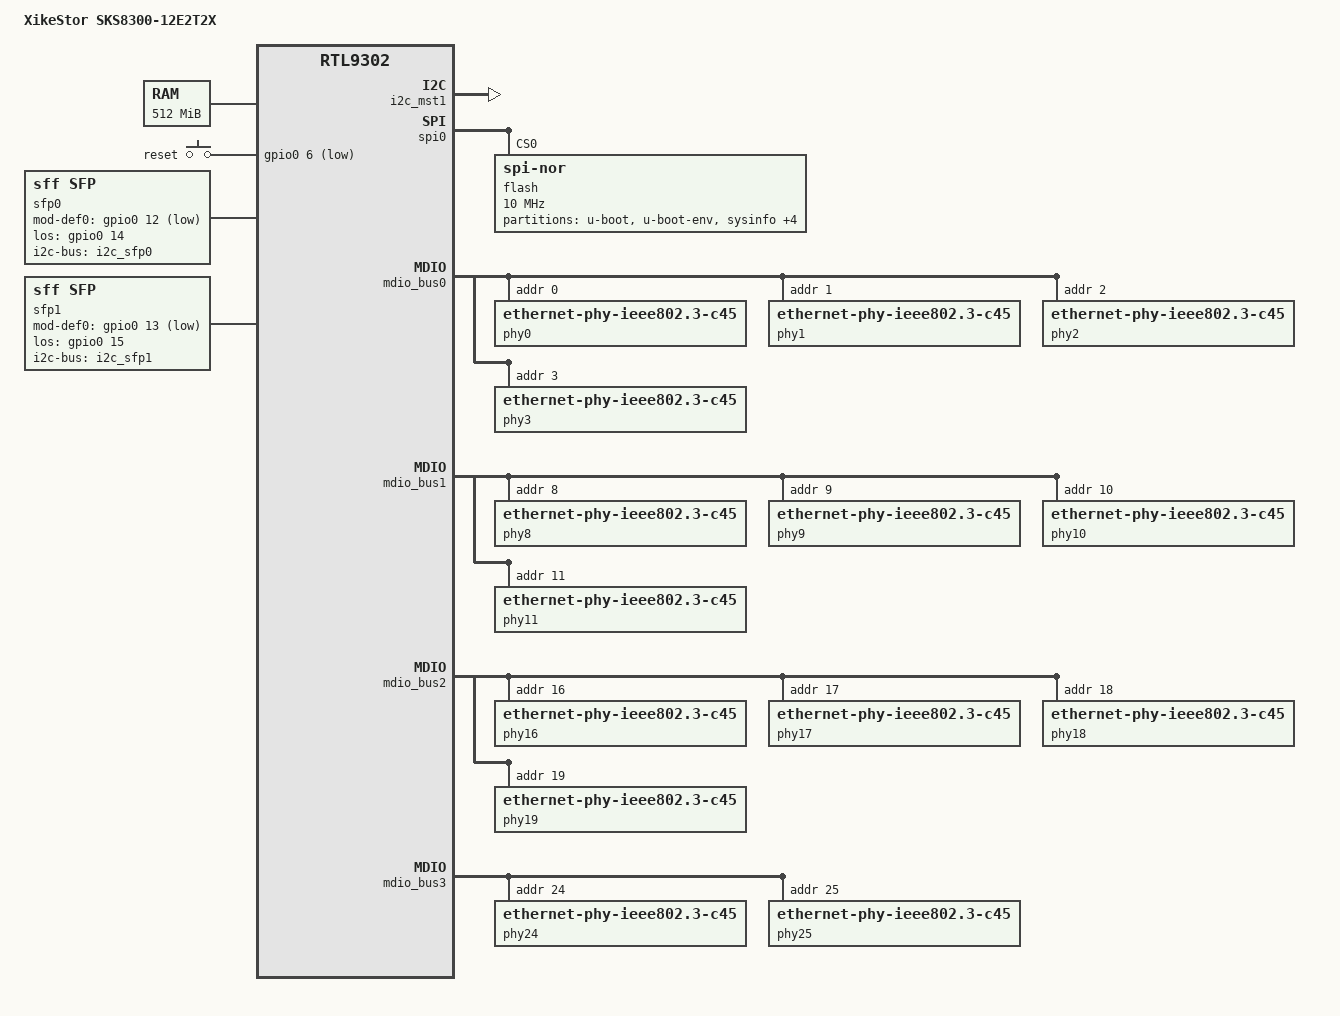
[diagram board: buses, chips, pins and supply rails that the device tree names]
// SPDX-License-Identifier: GPL-2.0-or-later

/dts-v1/;

#include "rtl930x.dtsi"

#include <dt-bindings/input/input.h>
#include <dt-bindings/gpio/gpio.h>

/ {
	compatible = "xikestor,sks8300-12e2t2x", "realtek,rtl9302-soc";
	model = "XikeStor SKS8300-12E2T2X";

	memory@0 {
		device_type = "memory";
		reg = <0x00000000 0x10000000>, /* first 256 MiB */
		      <0x20000000 0x10000000>; /* remaining 256 MiB */
	};

	chosen {
		stdout-path = "serial0:115200n8";
	};

	keys {
		compatible = "gpio-keys";
		button-reset {
			label = "reset";
			gpios = <&gpio0 6 GPIO_ACTIVE_LOW>;
			linux,code = <KEY_RESTART>;
		};
	};

	led_set {
		compatible = "realtek,rtl9300-leds";
		active-low;

		/*
		 * 2,5G Ports LED0 (orange): 10M/100M/1G/LINK/ACT
		 * 2,5G Ports LED1 (green): 2.5G/LINK/ACT
		 */
		led_set0 = <(RTL93XX_LED_SET_10M | RTL93XX_LED_SET_100M | RTL93XX_LED_SET_1G |
			     RTL93XX_LED_SET_LINK | RTL93XX_LED_SET_ACT)
			    (RTL93XX_LED_SET_2P5G | RTL93XX_LED_SET_LINK | RTL93XX_LED_SET_ACT)>;

		/*
		 * 10G Ports LED0 (orange): 10M/100M/1G/2.5G/5G/LINK/ACT
		 * 10G Ports LED1 (green): 10G/LINK/ACT
		 */
		led_set1 = <(RTL93XX_LED_SET_10M | RTL93XX_LED_SET_100M | RTL93XX_LED_SET_1G |
			     RTL93XX_LED_SET_2P5G | RTL93XX_LED_SET_5G |
			     RTL93XX_LED_SET_LINK | RTL93XX_LED_SET_ACT)
			    (RTL93XX_LED_SET_10G | RTL93XX_LED_SET_LINK | RTL93XX_LED_SET_ACT)>;
	};

	sfp0: sfp-p15 {
		compatible = "sff,sfp";
		i2c-bus = <&i2c_sfp0>;
		maximum-power-milliwatt = <1500>;
		mod-def0-gpios = <&gpio0 12 GPIO_ACTIVE_LOW>;
		los-gpios = <&gpio0 14 GPIO_ACTIVE_HIGH>;
		#thermal-sensor-cells = <0>;
	};

	sfp1: sfp-p16 {
		compatible = "sff,sfp";
		i2c-bus = <&i2c_sfp1>;
		maximum-power-milliwatt = <1500>;
		mod-def0-gpios = <&gpio0 13 GPIO_ACTIVE_LOW>;
		los-gpios = <&gpio0 15 GPIO_ACTIVE_HIGH>;
		#thermal-sensor-cells = <0>;

	};
	aliases {
		label-mac-device = &ethernet0;
	};
};

&i2c_mst1 {
	status = "okay";
	i2c_sfp0: i2c@0 {
		reg = <0>;
	};
	i2c_sfp1: i2c@1 {
		reg = <1>;
	};
};

&spi0 {
	status = "okay";
	flash@0 {
		compatible = "jedec,spi-nor";
		reg = <0>;
		spi-max-frequency = <10000000>;
		partitions {
			compatible = "fixed-partitions";
			#address-cells = <1>;
			#size-cells = <1>;
			partition@0 {
				label = "u-boot";
				reg = <0x0 0x1c0000>;
				read-only;
			};
			partition@1c0000 {
				label = "u-boot-env";
				reg = <0x1c0000 0x10000>;
			};
			partition@1d0000 {
				label = "sysinfo";
				reg = <0x1d0000 0x10000>;
				read-only;
			};
			partition@1e0000 {
				label = "factory";
				reg = <0x1e0000 0x10000>;
				read-only;
				nvmem-layout {
					compatible = "fixed-layout";
					#address-cells = <1>;
					#size-cells = <1>;
					factory_macaddr: macaddr@80 {
						reg = <0x80 0x6>;
					};
				};
			};
			partition@1f0000 {
				label = "sysdata";
				reg = <0x1f0000 0x10000>;
			};
			partition@200000 {
				label = "jffs2_filesystem";
				reg = <0x200000 0xa00000>;
			};
			partition@c00000 {
				compatible = "openwrt,uimage", "denx,uimage";
				label = "firmware";
				reg = <0xc00000 0x1400000>;
				openwrt,ih-magic = <0x93000000>;
				openwrt,offset = <0x10>;
			};
		};
	};
};

&ethernet0 {
	nvmem-cells = <&factory_macaddr>;
	nvmem-cell-names = "mac-address";
};

&mdio_bus0 {
	phy0: ethernet-phy@0 {
		compatible = "ethernet-phy-ieee802.3-c45";
		reg = <0>;
	};
	phy1: ethernet-phy@1 {
		compatible = "ethernet-phy-ieee802.3-c45";
		reg = <1>;
	};
	phy2: ethernet-phy@2 {
		compatible = "ethernet-phy-ieee802.3-c45";
		reg = <2>;
	};
	phy3: ethernet-phy@3 {
		compatible = "ethernet-phy-ieee802.3-c45";
		reg = <3>;
	};
};

&mdio_bus1 {
	phy8: ethernet-phy@8 {
		compatible = "ethernet-phy-ieee802.3-c45";
		reg = <8>;
		realtek,smi-address = <0>;
	};
	phy9: ethernet-phy@9 {
		compatible = "ethernet-phy-ieee802.3-c45";
		reg = <9>;
		realtek,smi-address = <1>;
	};
	phy10: ethernet-phy@10 {
		compatible = "ethernet-phy-ieee802.3-c45";
		reg = <10>;
		realtek,smi-address = <2>;
	};
	phy11: ethernet-phy@11 {
		compatible = "ethernet-phy-ieee802.3-c45";
		reg = <11>;
		realtek,smi-address = <3>;
	};
};

&mdio_bus2 {
	phy16: ethernet-phy@16 {
		compatible = "ethernet-phy-ieee802.3-c45";
		reg = <16>;
		realtek,smi-address = <0>;
	};
	phy17: ethernet-phy@17 {
		compatible = "ethernet-phy-ieee802.3-c45";
		reg = <17>;
		realtek,smi-address = <1>;
	};
	phy18: ethernet-phy@18 {
		compatible = "ethernet-phy-ieee802.3-c45";
		reg = <18>;
		realtek,smi-address = <2>;
	};
	phy19: ethernet-phy@19 {
		compatible = "ethernet-phy-ieee802.3-c45";
		reg = <19>;
		realtek,smi-address = <3>;
	};
};

&mdio_bus3 {
	phy24: ethernet-phy@24 {
		compatible = "ethernet-phy-ieee802.3-c45";
		reg = <24>;
		realtek,smi-address = <0>;
	};
	phy25: ethernet-phy@25 {
		compatible = "ethernet-phy-ieee802.3-c45";
		reg = <25>;
		realtek,smi-address = <1>;
	};
};

&switch0 {
	ports {
		#address-cells = <1>;
		#size-cells = <0>;

		port@0 {
			reg = <0>;
			label = "lan2";
			led-set = <0>;
			pcs-handle = <&serdes2>;
			phy-handle = <&phy0>;
			phy-mode = "10g-qxgmii";
		};
		port@1 {
			reg = <1>;
			label = "lan1";
			led-set = <0>;
			pcs-handle = <&serdes2>;
			phy-handle = <&phy1>;
			phy-mode = "10g-qxgmii";
		};
		port@2 {
			reg = <2>;
			label = "lan4";
			led-set = <0>;
			pcs-handle = <&serdes2>;
			phy-handle = <&phy2>;
			phy-mode = "10g-qxgmii";
		};
		port@3 {
			reg = <3>;
			label = "lan3";
			led-set = <0>;
			pcs-handle = <&serdes2>;
			phy-handle = <&phy3>;
			phy-mode = "10g-qxgmii";
		};

		port@8 {
			reg = <8>;
			label = "lan6";
			led-set = <0>;
			pcs-handle = <&serdes3>;
			phy-handle = <&phy8>;
			phy-mode = "10g-qxgmii";
		};
		port@9 {
			reg = <9>;
			label = "lan5";
			led-set = <0>;
			pcs-handle = <&serdes3>;
			phy-handle = <&phy9>;
			phy-mode = "10g-qxgmii";
		};
		port@10 {
			reg = <10>;
			label = "lan8";
			led-set = <0>;
			pcs-handle = <&serdes3>;
			phy-handle = <&phy10>;
			phy-mode = "10g-qxgmii";
		};
		port@11 {
			reg = <11>;
			label = "lan7";
			led-set = <0>;
			pcs-handle = <&serdes3>;
			phy-handle = <&phy11>;
			phy-mode = "10g-qxgmii";
		};

		port@16 {
			reg = <16>;
			label = "lan10";
			led-set = <0>;
			pcs-handle = <&serdes4>;
			phy-handle = <&phy16>;
			phy-mode = "10g-qxgmii";
		};
		port@17 {
			reg = <17>;
			label = "lan9";
			led-set = <0>;
			pcs-handle = <&serdes4>;
			phy-handle = <&phy17>;
			phy-mode = "10g-qxgmii";
		};
		port@18 {
			reg = <18>;
			label = "lan12";
			led-set = <0>;
			pcs-handle = <&serdes4>;
			phy-handle = <&phy18>;
			phy-mode = "10g-qxgmii";
		};
		port@19 {
			reg = <19>;
			label = "lan11";
			led-set = <0>;
			pcs-handle = <&serdes4>;
			phy-handle = <&phy19>;
			phy-mode = "10g-qxgmii";
		};

		port@24 {
			reg = <24>;
			label = "lan13";
			led-set = <1>;
			pcs-handle = <&serdes6>;
			phy-handle = <&phy24>;
			phy-mode = "usxgmii";
		};
		port@25 {
			reg = <25>;
			label = "lan14";
			led-set = <1>;
			pcs-handle = <&serdes7>;
			phy-handle = <&phy25>;
			phy-mode = "usxgmii";
		};

		port@26 {
			reg = <26>;
			label = "lan15";
			led-set = <1>;
			pcs-handle = <&serdes8>;
			phy-mode = "1000base-x";
			sfp = <&sfp0>;
			managed = "in-band-status";
		};
		port@27 {
			reg = <27>;
			label = "lan16";
			led-set = <1>;
			pcs-handle = <&serdes9>;
			phy-mode = "1000base-x";
			sfp = <&sfp1>;
			managed = "in-band-status";
		};

		port@28 {
			reg = <28>;
			ethernet = <&ethernet0>;
			phy-mode = "internal";
			fixed-link {
				speed = <10000>;
				full-duplex;
			};
		};
	};
};

&thermal_zones {
	sfp-thermal {
		polling-delay-passive = <10000>;
		polling-delay = <10000>;
		thermal-sensors = <&sfp0>, <&sfp1>;
		trips {
			sfp-crit {
				temperature = <110000>;
				hysteresis = <1000>;
				type = "critical";
			};
		};
	};
};
